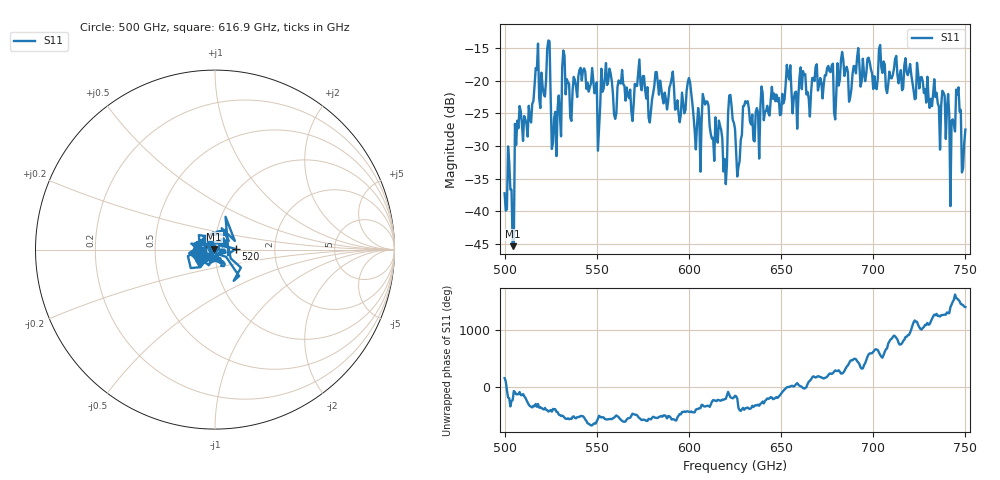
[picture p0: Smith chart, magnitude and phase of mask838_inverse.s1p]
!Created with skrf (http://scikit-rf.org).
# GHz S MA R 50.0
!freq magS11 angS11
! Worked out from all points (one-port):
!   401 points, 500 GHz to 750 GHz, reference 50 ohm
!   lowest |S11| = -45.3 dB at 504.4 GHz (marker M1), VSWR 1.01, Z = 49.6 + j0.342 ohm
!   |S11| at or under -10 dB: start of sweep to end of sweep
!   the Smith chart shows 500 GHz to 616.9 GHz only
!   S11 on the Smith chart (normalised r, x): 500 GHz: 0.97, +0.01; 520 GHz: 1.26, +0.01; 616.9 GHz: 0.94, +0.06
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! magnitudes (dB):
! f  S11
! 500 GHz  -37.2
! 504.4 GHz  -45.3
! 506.9 GHz  -26.1
! 516.9 GHz  -18.1
! 520 GHz  -18.8
! 523.8 GHz  -13.9
! 526.9 GHz  -25.7
! 531.2 GHz  -17.9
! 542.5 GHz  -18.4
! 550.6 GHz  -30.7
! 562.5 GHz  -20.4
! 593.8 GHz  -23.0
! 600 GHz  -19.6
! 605 GHz  -24.2
! 608.8 GHz  -23.7
! 616.9 GHz  -26.9
! 619.4 GHz  -32.0
! 622.5 GHz  -22.2
! 625 GHz  -27.4
! 627.5 GHz  -32.3
! 630.6 GHz  -23.1
! 634.4 GHz  -25.2
! 656.2 GHz  -25.0
! 687.5 GHz  -22.6
! 718.8 GHz  -19.2
! 743.1 GHz  -25.9
! 746.2 GHz  -21.0
! 750 GHz  -27.5
